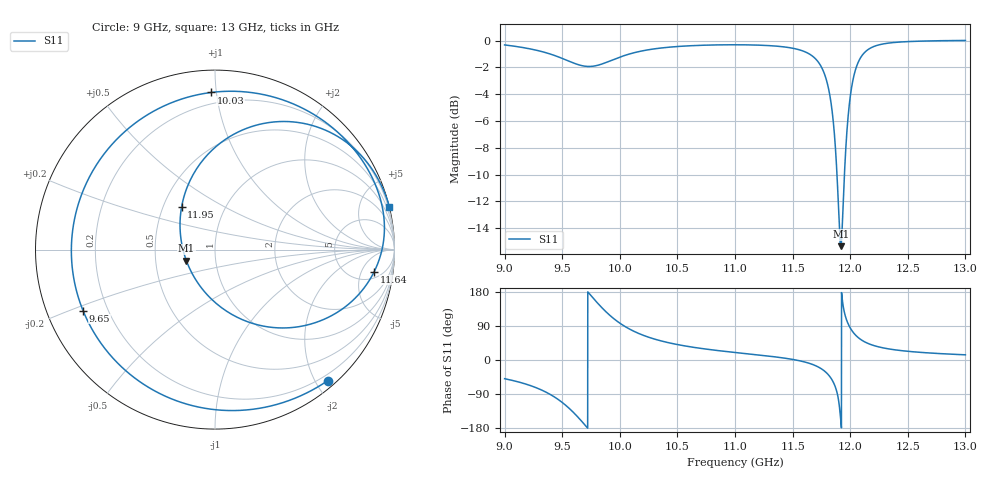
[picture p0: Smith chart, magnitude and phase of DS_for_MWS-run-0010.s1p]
! TOUCHSTONE file generated by CST DESIGN STUDIO
! Date and time: Tue Feb  4 15:52:12 2025
! Project name: C:\Work\MatlabApps\UnitCellOptimizationMatlab\CST\unitcell.cst
! Tree item: Tasks\Sweep1\SPara1\S-Parameters
! Header version: 2024
! Port assignment regex: !\s*Touchstone port\s*([0-9]+)\s*=\s*(CST MWS port|CST DES external port|CST DES block port)\s*(.+)\s* \(\"(.*)\"\)(\s*mode\s*([0-9]+))?.*
! Touchstone port assignment:
! Touchstone port 1 = CST DES external port 1 ("")
# GHz S MA R 50
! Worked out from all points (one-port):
!   4001 points, 9 GHz to 13 GHz, reference 50 ohm
!   lowest |S11| = -15.3 dB at 11.92 GHz (marker M1), VSWR 1.41, Z = 36 - j4.59 ohm
!   |S11| at or under -10 dB: 11.89 GHz to 11.95 GHz (64.7 MHz wide, 0.543 % of centre)
!   S11 on the Smith chart (normalised r, x): 9 GHz: 0.11, -2.17; 9.65 GHz: 0.11, -0.22; 10.03 GHz: 0.13, +0.97; 11.64 GHz: 7, -9; 11.95 GHz: 0.62, +0.33; 13 GHz: -0.01, +8.34
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9  0.9628 -49.4
9.268  0.9215 -72.4
9.4  0.8893 -91.6
9.5  0.8575 -112.0
9.575  0.8318 -131.7
9.65  0.81 -155.2
9.72  0.8004 -179.5
9.789  0.8048 156.3
9.893  0.8318 123.5
10  0.8668 97.3
10.029  0.8756 91.4
10.237  0.9218 61.5
10.5  0.9496 40.8
11  0.9641 19.8
11.5  0.9359 1.5
11.636  0.8953 -7.9
11.754  0.7904 -24.0
11.837  0.5718 -49.8
11.878  0.3606 -77.4
11.918  0.1709 -158.8
11.948  0.3029 127.8
12  0.6152 84.8
12.034  0.7447 69.9
12.079  0.8459 56.9
12.168  0.9329 42.0
12.297  0.9729 31.3
12.5  0.9906 23.0
13  1 13.7
